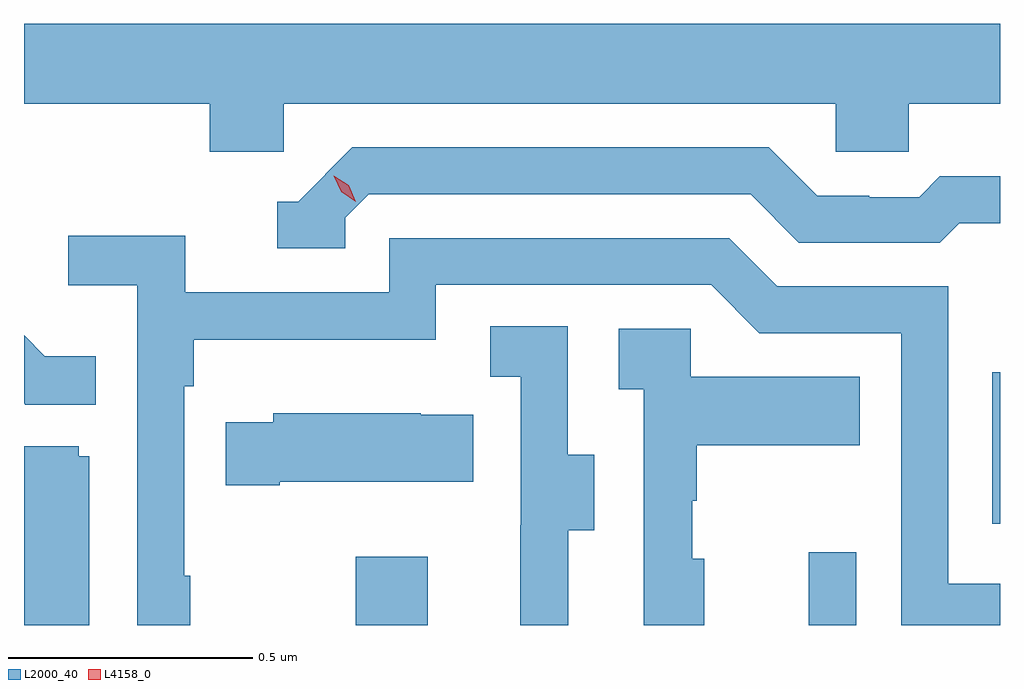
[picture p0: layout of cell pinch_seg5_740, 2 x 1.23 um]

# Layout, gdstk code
import gdstk
lib = gdstk.Library(unit=1e-6, precision=1e-09)
def R(c, l, rs):  # rectangles x0, y0, x1, y1
    for r in rs: c.add(gdstk.rectangle(r[:2], r[2:], *l))
def P(c, l, *ps):  # polygons
    for p in ps: c.add(gdstk.Polygon(p, *l))
L2000_40 = (2000, 40)
L4158_0 = (4158, 0)

pinch_seg5_740 = lib.new_cell('pinch_seg5_740')
R(pinch_seg5_740, L2000_40, [(880.888,904.976,881.035,905.116), (881.816,904.976,881.913,905.125), (882.192,905.184,882.208,905.494)])
P(pinch_seg5_740, L2000_40, [(880.74,906.044),(881.871,906.044),(881.871,905.946),(882.021,905.946),(882.021,906.044),(882.208,906.044),(882.208,906.208),(880.208,906.208),(880.208,906.044),(880.589,906.044),(880.589,905.946),(880.74,905.946)],
  [(880.866,905.811),(880.914,905.859),(881.697,905.859),(881.796,905.76),(882.085,905.76),(882.124,905.799),(882.208,905.799),(882.208,905.896),(882.085,905.896),(882.043,905.853),(881.94,905.853),(881.94,905.856),(881.833,905.856),(881.734,905.955),(880.881,905.955),(880.77,905.844),(880.727,905.844),(880.727,905.748),(880.866,905.748)],
  [(880.549,905.077),(880.536,905.077),(880.536,905.465),(880.556,905.465),(880.556,905.561),(881.052,905.561),(881.052,905.673),(881.616,905.673),(881.715,905.574),(882.006,905.574),(882.006,904.976),(882.208,904.976),(882.208,905.061),(882.102,905.061),(882.102,905.67),(881.752,905.67),(881.653,905.769),(880.956,905.769),(880.956,905.658),(880.538,905.658),(880.538,905.774),(880.299,905.774),(880.299,905.672),(880.44,905.672),(880.44,904.976),(880.549,904.976)],
  [(881.323,905.17),(881.377,905.17),(881.377,905.325),(881.322,905.325),(881.322,905.588),(881.163,905.588),(881.163,905.485),(881.226,905.485),(881.226,905.181),(881.225,905.181),(881.225,904.976),(881.323,904.976)],
  [(881.602,905.112),(881.577,905.112),(881.577,905.231),(881.587,905.231),(881.587,905.345),(881.921,905.345),(881.921,905.485),(881.574,905.485),(881.574,905.583),(881.427,905.583),(881.427,905.459),(881.478,905.459),(881.478,904.976),(881.602,904.976)],
  [(880.355,905.527),(880.251,905.527),(880.208,905.57),(880.208,905.431),(880.211,905.428),(880.355,905.428)],
  [(880.732,905.27),(881.129,905.27),(881.129,905.407),(881.021,905.407),(881.021,905.41),(880.719,905.41),(880.719,905.392),(880.621,905.392),(880.621,905.263),(880.732,905.263)],
  [(880.342,905.322),(880.32,905.322),(880.32,905.343),(880.208,905.343),(880.208,904.976),(880.342,904.976)])
P(pinch_seg5_740, L4158_0, [(880.888,905.844),(880.858,905.864),(880.843,905.897),(880.843,905.897),(880.843,905.897),(880.873,905.877),(880.888,905.844),(880.888,905.844)])

lib.write_gds('pinch_seg5_740.gds')
